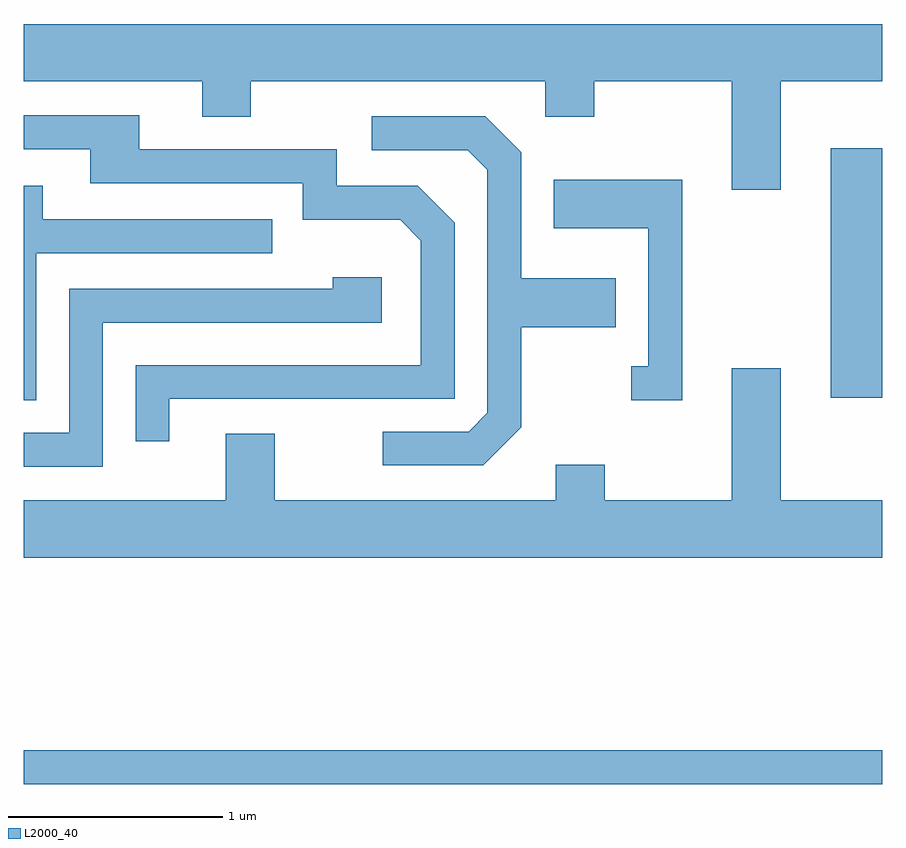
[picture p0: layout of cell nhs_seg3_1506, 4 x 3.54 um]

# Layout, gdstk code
import gdstk
lib = gdstk.Library(unit=1e-6, precision=1e-09)
def R(c, l, rs):  # rectangles x0, y0, x1, y1
    for r in rs: c.add(gdstk.rectangle(r[:2], r[2:], *l))
def P(c, l, *ps):  # polygons
    for p in ps: c.add(gdstk.Polygon(p, *l))
L2000_40 = (2000, 40)

nhs_seg3_1506 = lib.new_cell('nhs_seg3_1506')
R(nhs_seg3_1506, L2000_40, [(229.611,1136.061,233.611,1136.219), (233.371,1137.861,233.611,1139.024)])
P(nhs_seg3_1506, L2000_40, [(233.139,1139.336),(233.611,1139.336),(233.611,1139.604),(229.611,1139.604),(229.611,1139.336),(230.441,1139.336),(230.441,1139.171),(230.669,1139.171),(230.669,1139.336),(232.041,1139.336),(232.041,1139.171),(232.269,1139.171),(232.269,1139.336),(232.911,1139.336),(232.911,1138.831),(233.139,1138.831)],
  [(230.289,1137.856),(231.619,1137.856),(231.619,1138.677),(231.447,1138.849),(231.069,1138.849),(231.069,1139.019),(230.149,1139.019),(230.149,1139.179),(229.611,1139.179),(229.611,1139.021),(229.921,1139.021),(229.921,1138.861),(230.911,1138.861),(230.911,1138.691),(231.364,1138.691),(231.461,1138.594),(231.461,1138.014),(230.131,1138.014),(230.131,1137.658),(230.289,1137.658)],
  [(231.929,1137.724),(231.929,1138.191),(232.369,1138.191),(232.369,1138.419),(231.929,1138.419),(231.929,1139.007),(231.762,1139.174),(231.233,1139.174),(231.233,1139.016),(231.679,1139.016),(231.771,1138.924),(231.771,1137.792),(231.684,1137.704),(231.283,1137.704),(231.283,1137.546),(231.752,1137.546)],
  [(232.679,1138.879),(232.081,1138.879),(232.081,1138.651),(232.521,1138.651),(232.521,1138.009),(232.443,1138.009),(232.443,1137.851),(232.679,1137.851)],
  [(229.669,1138.536),(230.768,1138.536),(230.768,1138.694),(229.699,1138.694),(229.699,1138.849),(229.611,1138.849),(229.611,1137.851),(229.669,1137.851)],
  [(229.979,1138.211),(231.279,1138.211),(231.279,1138.424),(231.051,1138.424),(231.051,1138.369),(229.821,1138.369),(229.821,1137.699),(229.611,1137.699),(229.611,1137.541),(229.979,1137.541)],
  [(233.611,1137.384),(233.139,1137.384),(233.139,1137.999),(232.911,1137.999),(232.911,1137.384),(232.319,1137.384),(232.319,1137.549),(232.091,1137.549),(232.091,1137.384),(230.779,1137.384),(230.779,1137.694),(230.551,1137.694),(230.551,1137.384),(229.611,1137.384),(229.611,1137.116),(233.611,1137.116)])

lib.write_gds('nhs_seg3_1506.gds')
